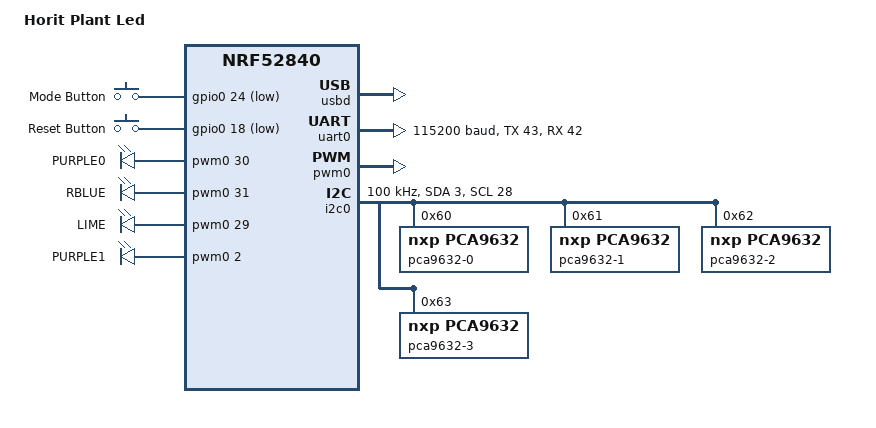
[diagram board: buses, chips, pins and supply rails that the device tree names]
/*
 * Copyright (c) 2018 Nordic Semiconductor ASA
 * Copyright (c) 2017 Linaro Limited
 *
 * SPDX-License-Identifier: Apache-2.0
 */

/dts-v1/;
#include <nordic/nrf52840_qiaa.dtsi>

/ {
	model = "Horit Plant Led";
	compatible = "nordic,plant_led";

	chosen {
		zephyr,console = &uart0;
		zephyr,shell-uart = &uart0;
		zephyr,uart-mcumgr = &uart0;
		zephyr,bt-mon-uart = &uart0;
		zephyr,bt-c2h-uart = &uart0;
		zephyr,sram = &sram0;
		zephyr,flash = &flash0;
		zephyr,code-partition = &slot0_partition;
	};
	gpio_keys {
		compatible = "gpio-keys";
		mode_button: button_0 {
			gpios = <&gpio0 24 (GPIO_PULL_UP | GPIO_ACTIVE_LOW)>;
			label = "Mode Button";
		};

		reset_button: button_1 {
				gpios = <&gpio0 18 (GPIO_PULL_UP | GPIO_ACTIVE_LOW)>;
				label = "Reset Button";
		};
	 
	};



};

&flash0 {
	partitions {
		compatible = "fixed-partitions";
		#address-cells = <1>;
		#size-cells = <1>;
		boot_partition: partition@0 {
			label = "mcuboot";
			reg = <0x000000000 0x00010000>;
		};
		slot0_partition: partition@10000 {
			label = "image-0";
			reg = <0x000010000 0x000074000>;
		};
		slot1_partition: partition@75000 {
			label = "image-1";
			reg = <0x00084000 0x000074000>;
		};

		/*
		 * The flash starting at 0x000f8000 and ending at
		 * 0x000fffff is reserved for use by the application.
		 */

		/*
		 * Storage partition will be used by FCB/LittleFS/NVS
		 * if enabled.
		 */
		storage_partition: partition@f8000 {
			label = "storage";
			reg = <0x000f8000 0x00008000>;
		};
	};
};

zephyr_udc0: &usbd {
	compatible = "nordic,nrf-usbd";
	status = "okay";
};
&gpiote {
	status = "okay";
};

&gpio0 {
	status = "okay";
};

&gpio1 {
	status = "okay";
};

&uart0 {
	compatible = "nordic,nrf-uarte";
	status = "okay";
	current-speed = <115200>;
	tx-pin = <43>;
	rx-pin = <42>;
};
&pwm0 {
	status = "okay";
	ch0-pin = <30>;
	ch1-pin = <31>;
	ch2-pin = <29>;
	ch3-pin = <02>;
};
&i2c0 {
	compatible = "nordic,nrf-twi";
	status = "okay";
	clock-frequency = <I2C_BITRATE_STANDARD>;
	sda-pin = <3>;
	scl-pin = <28>;

	pca96320: pca9632@60 {
		compatible = "nxp,pca9632";
		reg = <0x60>;
		label = "pca9632-0";
	};
	pca96321: pca9632@61 {
		compatible = "nxp,pca9632";
		reg = <0x61>;
		label = "pca9632-1";
	};
	pca96322: pca9632@62 {
		compatible = "nxp,pca9632";
		reg = <0x62>;
		label = "pca9632-2";
	};
	pca96323: pca9632@63 {
		compatible = "nxp,pca9632";
		reg = <0x63>;
		label = "pca9632-3";
	};
};
/ {
	pwmleds {
		compatible = "pwm-leds";

		purple0_pwm_led: led_pwm_0 {
			pwms = <&pwm0 30>;
			label = "PURPLE0";
		};

		royale_blue_pwm_led: led_pwm_1 {
			pwms = <&pwm0 31>;
			label = "RBLUE";
		};

		lime_pwm_led: led_pwm_2 {
			pwms = <&pwm0 29>;
			label = "LIME";
		};

		purple1_pwm_led: led_pwm_3 {
			pwms = <&pwm0 2>;
			label = "PURPLE1";
		};
	};

	aliases {
		purple0-pwm-led = &purple0_pwm_led;
		lime-pwm-led = &lime_pwm_led;
		royal-blue-pwm-led = &royale_blue_pwm_led;
		purple1-pwm-led = &purple1_pwm_led;
	};
};
